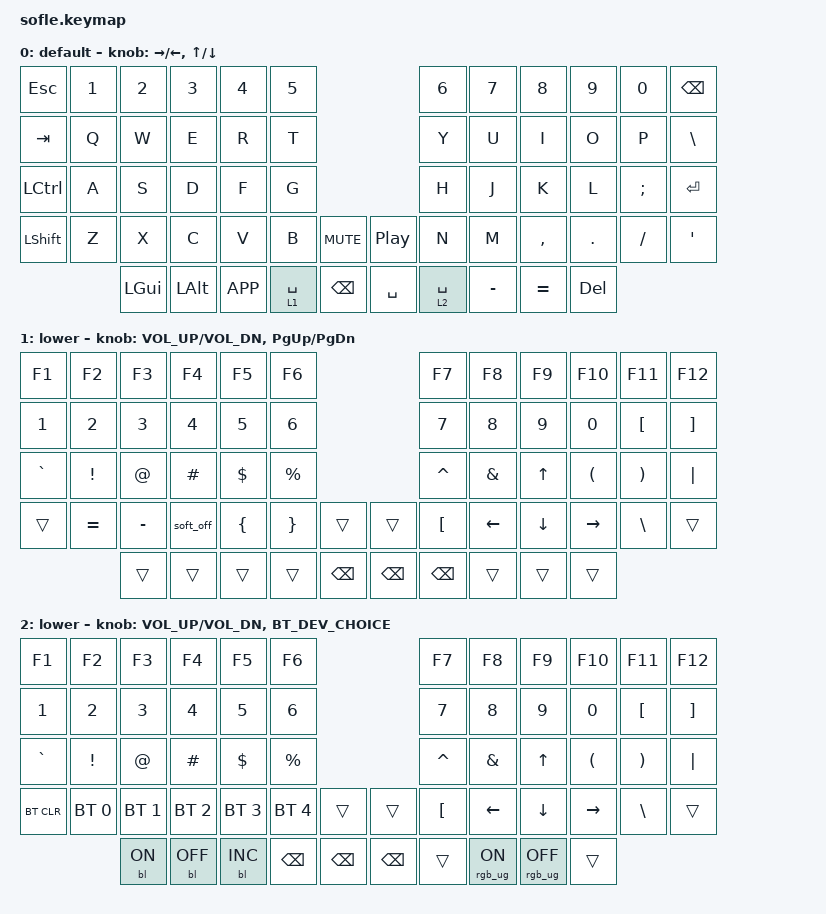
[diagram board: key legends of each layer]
/*
 * Copyright (c) 2020 The ZMK Contributors
 *
 * SPDX-License-Identifier: MIT
 */

#include <behaviors.dtsi>
#include <dt-bindings/zmk/backlight.h>
#include <dt-bindings/zmk/bt.h>
#include <dt-bindings/zmk/keys.h>
#include <dt-bindings/zmk/rgb.h>

#define BASE 0
#define LOWER 1
#define RAISE 2
#define ADJUST 3

/ {
    // Activate ADJUST layer by pressing raise and lower

    conditional_layers { compatible = "zmk,conditional-layers"; };

    behaviors {
        BT_DEV_CHOICE: BT_DEV_CHOICE {
            compatible = "zmk,behavior-sensor-rotate";
            label = "BT_DEV_CHOICE";
            #sensor-binding-cells = <0>;
            bindings = <&bt BT_PRV>, <&bt BT_NXT>;
        };
    };

    keymap {
        compatible = "zmk,keymap";

        LAYER {
            display-name = "default";

            // ------------------------------------------------------------------------------------------------------------
            // |  ESC  |  1  |  2  |  3   |  4   |  5   |                   |  6   |  7    |  8    |  9   |   0   |  DEL  |
            // |   `   |  Q  |  W  |  E   |  R   |  T   |                   |  Y   |  U    |  I    |  O   |   P   | BKSPC |
            // |  TAB  |  A  |  S  |  D   |  F   |  G   |                   |  H   |  J    |  K    |  L   |   ;   |   '   |
            // | SHIFT |  Z  |  X  |  C   |  V   |  B   |  MUTE  |  | PLAY_PAUSE |  N   |  M    |  ,    |  .   |   /   | SHIFT |
            //               | GUI | ALT  | CTRL | LOWER|  SPACE |  | ENTER | RAISE| CTRL  | ALT   | GUI  |

            bindings = <
&kp ESC    &kp N1  &kp N2    &kp N3    &kp N4     &kp N5                                          &kp N6       &kp N7     &kp N8     &kp N9   &kp N0    &kp BACKSPACE
&kp TAB    &kp Q   &kp W     &kp E     &kp R      &kp T                                           &kp Y        &kp U      &kp I      &kp O    &kp P     &kp BSLH
&kp LCTRL  &kp A   &kp S     &kp D     &kp F      &kp G                                           &kp H        &kp J      &kp K      &kp L    &kp SEMI  &kp ENTER
&kp LSHFT  &kp Z   &kp X     &kp C     &kp V      &kp B        &kp C_MUTE       &kp C_PLAY_PAUSE  &kp N        &kp M      &kp COMMA  &kp DOT  &kp FSLH  &kp SQT
                   &kp LGUI  &kp LALT  &kp K_APP  &lt 1 SPACE  &kp BACKSPACE    &kp SPACE         &lt 2 SPACE  &kp MINUS  &kp EQUAL  &kp DEL
            >;

            sensor-bindings = <&inc_dec_kp RIGHT LEFT>, <&inc_dec_kp UP DOWN>;
        };

        lower_layer {
            display-name = "lower";

            // TODO: Some binds are waiting for shifted keycode support.
            // ------------------------------------------------------------------------------------------------------------
            // |       |  F1 |  F2 |  F3  |  F4  |  F5  |                   |  F6  |  F7   |  F8   |  F9  |  F10  |  F11  |
            // |   `   |  1  |  2  |  3   |  4   |  5   |                   |  6   |  7    |  8    |  9   |   0   |  F12  |
            // |       |  !  |  @  |  #   |  $   |  %   |                   |  ^   |  &    |  *    |  (   |   )   |   |   |
            // |  CLCK |  =  |  -  |  +   |  {   |  }   |        |  |       |  [   |  ]    |  ;    |  :   |   \   | CLCK  |
            //               |     |      |      |      |        |  |       |      |       |       |      |

            bindings = <
&kp F1     &kp F2     &kp F3     &kp F4     &kp F5    &kp F6                           &kp F7     &kp F8    &kp F9    &kp F10    &kp F11   &kp F12
&kp N1     &kp N2     &kp N3     &kp N4     &kp N5    &kp N6                           &kp N7     &kp N8    &kp N9    &kp N0     &kp LBKT  &kp RBKT
&kp GRAVE  &kp EXCL   &kp AT     &kp HASH   &kp DLLR  &kp PRCNT                        &kp CARET  &kp AMPS  &kp UP    &kp LPAR   &kp RPAR  &kp PIPE
&trans     &kp EQUAL  &kp MINUS  &soft_off  &kp LBRC  &kp RBRC   &trans      &trans    &kp LBKT   &kp LEFT  &kp DOWN  &kp RIGHT  &kp BSLH  &trans
                      &trans     &trans     &trans    &trans     &kp BSPC    &kp BSPC  &kp BSPC   &trans    &trans    &trans
            >;

            sensor-bindings = <&inc_dec_kp C_VOL_UP C_VOL_DN &inc_dec_kp PG_UP PG_DN>;
        };

        BLE_LAYER {
            display-name = "lower";
            bindings = <
&kp F1      &kp F2        &kp F3        &kp F4        &kp F5        &kp F6                              &kp F7     &kp F8          &kp F9           &kp F10    &kp F11   &kp F12
&kp N1      &kp N2        &kp N3        &kp N4        &kp N5        &kp N6                              &kp N7     &kp N8          &kp N9           &kp N0     &kp LBKT  &kp RBKT
&kp GRAVE   &kp EXCL      &kp AT        &kp HASH      &kp DLLR      &kp PRCNT                           &kp CARET  &kp AMPS        &kp UP           &kp LPAR   &kp RPAR  &kp PIPE
&bt BT_CLR  &bt BT_SEL 0  &bt BT_SEL 1  &bt BT_SEL 2  &bt BT_SEL 3  &bt BT_SEL 4  &trans      &trans    &kp LBKT   &kp LEFT        &kp DOWN         &kp RIGHT  &kp BSLH  &trans
                          &bl BL_ON     &bl BL_OFF    &bl BL_INC    &kp BSPC      &kp BSPC    &kp BSPC  &trans     &rgb_ug RGB_ON  &rgb_ug RGB_OFF  &trans
            >;

            sensor-bindings = <&inc_dec_kp C_VOL_UP C_VOL_DN>, <&BT_DEV_CHOICE>;
        };
    };
};
